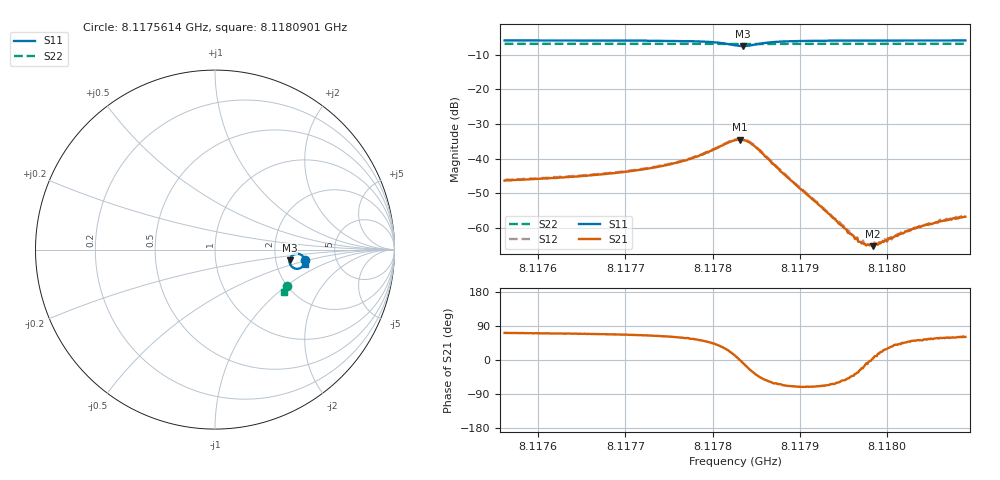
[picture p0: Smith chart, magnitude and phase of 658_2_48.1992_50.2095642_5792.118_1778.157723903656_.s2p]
#  HZ  S  RI  R  50.00
! Rohde & Schwarz Vector Network Analyzer
! Rohde-Schwarz,ZNB20-2Port,1311601062101988,3.16
! Created: UTC 3/20/2024, 12:05:36 PM
! freq[Hz]  re:S11  im:S11  re:S21  im:S21  re:S12  im:S12  re:S22  im:S22
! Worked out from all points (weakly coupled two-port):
!   401 points, 8.1175614 GHz to 8.1180901 GHz, reference 50 ohm
!   highest |S21| = -34.53 dB at 8.117831 GHz (marker M1); lowest = -65.3 dB at 8.1179843 GHz (marker M2)
!   lowest |S11| = -7.5 dB at 8.117835 GHz (marker M3), VSWR 2.45, Z = 119 - j17.1 ohm
!   |S11| at or under -10 dB: nowhere
!   |S22| runs from -6.9 to -6.9 dB; largest |S21 - S12| = 0.00058
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8.11756136e9  0.5032 -0.0601  0.00152 0.00455  0.00159 0.00461  0.4034 -0.2052
8.11764992e9  0.5009 -0.0701  0.00198 0.00521  0.00205 0.00533  0.4008 -0.2111
8.11769486e9  0.4987 -0.0766  0.00246 0.00582  0.0025 0.00595  0.3993 -0.2138
8.11773847e9  0.4946 -0.0854  0.00342 0.00682  0.0035 0.00699  0.3978 -0.2169
8.11777812e9  0.4841 -0.0978  0.00579 0.00846  0.00604 0.00857  0.396 -0.2196
8.11780985e9  0.4535 -0.1067  0.0124 0.00885  0.0126 0.00904  0.3937 -0.2215
8.11782571e9  0.4225 -0.0881  0.018 0.00371  0.0184 0.00393  0.3922 -0.2215
8.11783099e9  0.4161 -0.0724  0.0188 0.000106  0.0193 0.000237  0.3917 -0.221
8.11783496e9  0.4158 -0.059  0.0184 -0.00267  0.0189 -0.00267  0.392 -0.2205
8.11784157e9  0.4247 -0.0385  0.0159 -0.00677  0.0162 -0.00681  0.3923 -0.2203
8.11785082e9  0.447 -0.0242  0.0108 -0.009  0.011 -0.00922  0.3932 -0.2204
8.11787593e9  0.4853 -0.0333  0.00312 -0.00632  0.00314 -0.00642  0.3938 -0.2228
8.11791426e9  0.4981 -0.0526  0.000858 -0.00244  0.000935 -0.00253  0.3932 -0.226
8.11794731e9  0.5003 -0.062  0.000611 -0.000899  0.000612 -0.000963  0.392 -0.2284
8.11796713e9  0.5006 -0.0662  0.00053 -0.00034  0.000557 -0.000332  0.3913 -0.2297
8.11797771e9  0.5008 -0.068  0.000563 -0.000106  0.00055 -0.000147  0.3909 -0.2304
8.11798431e9  0.5007 -0.0693  0.00054 4.65e-05  0.000572 1.67e-05  0.3907 -0.2309
8.11799092e9  0.5006 -0.0703  0.000578 0.000172  0.000599 0.000153  0.3905 -0.2313
8.11800282e9  0.5007 -0.0721  0.000588 0.000376  0.000573 0.000378  0.3901 -0.2322
8.11801339e9  0.5007 -0.0737  0.000608 0.000543  0.000623 0.00053  0.3898 -0.2328
8.11804379e9  0.5004 -0.0776  0.000634 0.000899  0.000635 0.000902  0.3887 -0.2346
8.11809005e9  0.4998 -0.0828  0.0007 0.00126  0.000724 0.00131  0.387 -0.2376
